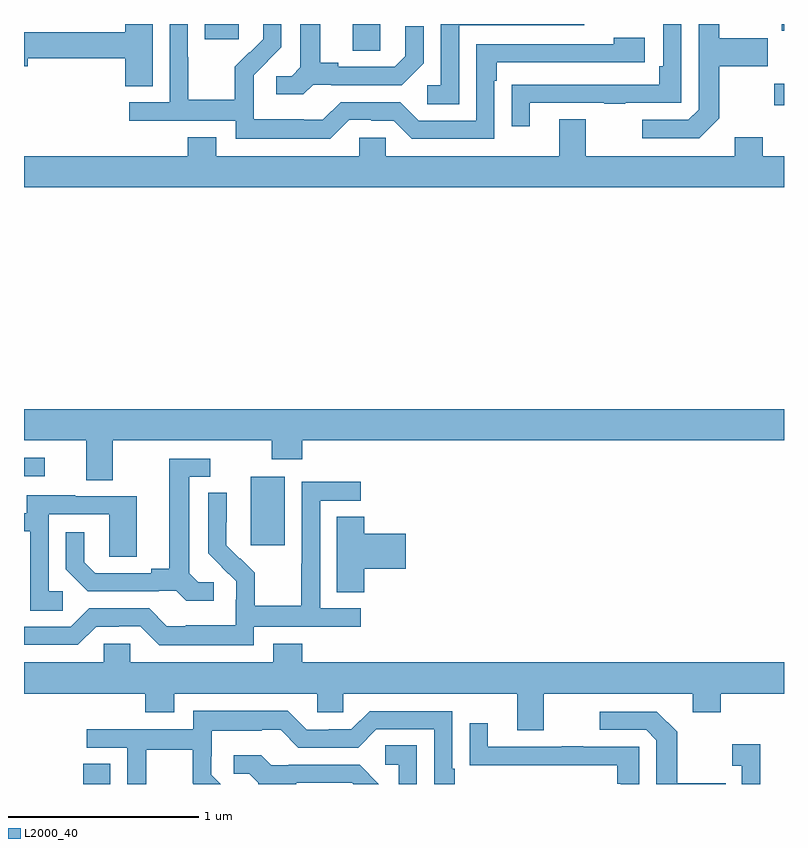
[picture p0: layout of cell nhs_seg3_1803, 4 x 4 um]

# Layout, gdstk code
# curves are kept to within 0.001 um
import gdstk
lib = gdstk.Library(unit=1e-6, precision=1e-09)
def R(c, l, rs):  # rectangles x0, y0, x1, y1
    for r in rs: c.add(gdstk.rectangle(r[:2], r[2:], *l))
def P(c, l, *ps):  # polygons
    for p in ps: c.add(gdstk.Polygon(p, *l))
L2000_40 = (2000, 40)

nhs_seg3_1803 = lib.new_cell('nhs_seg3_1803')
R(nhs_seg3_1803, L2000_40, [(203.312,740.4,203.455,740.507), (204.194,741.657,204.373,742.018), (203,742.02,203.11,742.116), (206.949,743.973,207,744.086), (204.731,744.259,204.876,744.4), (203.951,744.321,204.13,744.4), (206.988,744.365,207,744.4)])
P(nhs_seg3_1803, L2000_40, [(205.663,743.985),(206.053,743.985),(206.053,743.98),(206.165,743.98),(206.165,743.985),(206.46,743.985),(206.46,744.4),(206.364,744.4),(206.364,744.178),(206.344,744.178),(206.344,744.081),(205.669,744.081),(205.669,744.08),(205.567,744.08),(205.567,743.862),(205.663,743.862)],
  [(203.677,744.4),(203.534,744.4),(203.534,744.356),(203,744.356),(203,744.178),(203.02,744.178),(203.02,744.22),(203.534,744.22),(203.534,744.073),(203.677,744.073)],
  [(204.711,743.895),(204.827,743.895),(204.827,743.892),(204.945,743.892),(205.041,743.796),(205.476,743.796),(205.476,744.101),(205.489,744.101),(205.489,744.198),(206.266,744.198),(206.266,744.328),(206.105,744.328),(206.105,744.294),(205.38,744.294),(205.38,743.892),(205.077,743.892),(204.981,743.988),(204.666,743.988),(204.573,743.895),(204.473,743.895),(204.473,743.899),(204.21,743.899),(204.21,744.033),(204.208,744.033),(204.208,744.13),(204.354,744.278),(204.354,744.4),(204.26,744.4),(204.26,744.32),(204.189,744.249),(204.186,744.252),(204.109,744.175),(204.109,744.001),(203.865,744.001),(203.865,744.224),(203.862,744.224),(203.862,744.4),(203.766,744.4),(203.766,743.988),(203.553,743.988),(203.553,743.892),(204.114,743.892),(204.114,743.795),(204.611,743.795)],
  [(204.522,744.081),(204.616,744.081),(204.616,744.078),(204.988,744.078),(205.104,744.194),(205.104,744.388),(205.007,744.388),(205.007,744.231),(204.95,744.174),(204.655,744.174),(204.655,744.197),(204.559,744.197),(204.559,744.4),(204.455,744.4),(204.455,744.173),(204.408,744.126),(204.327,744.126),(204.327,744.029),(204.47,744.029)],
  [(206.659,743.905),(206.659,744.178),(206.915,744.178),(206.915,744.325),(206.659,744.325),(206.659,744.4),(206.55,744.4),(206.55,743.949),(206.496,743.895),(206.253,743.895),(206.253,743.799),(206.553,743.799)],
  [(205.29,744.393),(205.949,744.393),(205.949,744.4),(205.194,744.4),(205.194,744.078),(205.122,744.078),(205.122,743.977),(205.29,743.977)],
  [(207,743.704),(206.889,743.704),(206.889,743.803),(206.741,743.803),(206.741,743.704),(205.957,743.704),(205.957,743.899),(205.817,743.899),(205.817,743.704),(204.903,743.704),(204.903,743.802),(204.765,743.802),(204.765,743.704),(204.013,743.704),(204.013,743.803),(203.861,743.803),(203.861,743.704),(203,743.704),(203,743.54),(207,743.54)],
  [(203,742.208),(203.327,742.208),(203.327,742),(203.467,742),(203.467,742.208),(204.304,742.208),(204.304,742.109),(204.464,742.109),(204.464,742.208),(207,742.208),(207,742.372),(203,742.372)],
  [(203.998,741.462),(203.916,741.462),(203.869,741.509),(203.869,742.017),(203.98,742.017),(203.98,742.113),(203.765,742.113),(203.765,741.533),(203.669,741.533),(203.669,741.51),(203.374,741.51),(203.317,741.567),(203.317,741.724),(203.22,741.724),(203.22,741.53),(203.336,741.414),(203.708,741.414),(203.708,741.417),(203.802,741.417),(203.854,741.365),(203.998,741.365)],
  [(204.21,741.228),(204.772,741.228),(204.772,741.324),(204.558,741.324),(204.558,741.891),(204.772,741.891),(204.772,741.99),(204.462,741.99),(204.462,741.56),(204.46,741.56),(204.46,741.337),(204.215,741.337),(204.215,741.511),(204.138,741.588),(204.135,741.585),(204.065,741.656),(204.066,741.932),(203.97,741.932),(203.97,741.614),(204.116,741.466),(204.116,741.369),(204.114,741.369),(204.114,741.235),(203.851,741.235),(203.851,741.231),(203.751,741.231),(203.658,741.324),(203.343,741.324),(203.247,741.228),(203,741.228),(203,741.132),(203.283,741.132),(203.379,741.228),(203.498,741.228),(203.498,741.231),(203.613,741.231),(203.713,741.131),(204.21,741.131)],
  [(203.203,741.414),(203.13,741.414),(203.13,741.819),(203.448,741.819),(203.448,741.595),(203.593,741.595),(203.593,741.915),(203.269,741.915),(203.269,741.919),(203.015,741.919),(203.015,741.825),(203,741.825),(203,741.729),(203.034,741.729),(203.034,741.313),(203.203,741.313)],
  [(204.791,741.533),(205.009,741.533),(205.009,741.716),(204.791,741.716),(204.791,741.806),(204.647,741.806),(204.647,741.409),(204.791,741.409)],
  [(203.421,741.138),(203.421,741.04),(203,741.04),(203,740.876),(203.639,740.876),(203.639,740.777),(203.791,740.777),(203.791,740.876),(204.543,740.876),(204.543,740.778),(204.681,740.778),(204.681,740.876),(205.595,740.876),(205.595,740.682),(205.735,740.682),(205.735,740.876),(206.519,740.876),(206.519,740.777),(206.667,740.777),(206.667,740.876),(207,740.876),(207,741.04),(204.464,741.04),(204.464,741.139),(204.311,741.139),(204.311,741.04),(203.559,741.04),(203.559,741.138)],
  [(203.643,740.58),(203.887,740.58),(203.887,740.405),(203.892,740.4),(204.036,740.4),(203.986,740.45),(203.986,740.547),(203.988,740.547),(203.988,740.681),(204.251,740.681),(204.251,740.685),(204.351,740.685),(204.444,740.592),(204.759,740.592),(204.855,740.688),(205.158,740.688),(205.158,740.4),(205.267,740.4),(205.267,740.479),(205.254,740.479),(205.254,740.784),(204.819,740.784),(204.723,740.688),(204.605,740.688),(204.605,740.685),(204.489,740.685),(204.389,740.785),(203.892,740.785),(203.892,740.688),(203.331,740.688),(203.331,740.592),(203.544,740.592),(203.544,740.4),(203.643,740.4)],
  [(206.693,740.403),(206.437,740.403),(206.437,740.675),(206.331,740.781),(206.031,740.781),(206.031,740.685),(206.274,740.685),(206.328,740.631),(206.328,740.4),(206.693,740.4)],
  [(206.238,740.595),(205.943,740.595),(205.943,740.6),(205.831,740.6),(205.831,740.595),(205.441,740.595),(205.441,740.719),(205.345,740.719),(205.345,740.5),(205.447,740.5),(205.447,740.499),(206.122,740.499),(206.122,740.402),(206.142,740.402),(206.142,740.4),(206.238,740.4)],
  [(206.875,740.608),(206.727,740.608),(206.727,740.495),(206.778,740.495),(206.778,740.4),(206.875,740.4)],
  [(205.068,740.603),(204.9,740.603),(204.9,740.502),(204.972,740.502),(204.972,740.4),(205.068,740.4)],
  [(204.433,740.406),(204.728,740.406),(204.734,740.4),(204.868,740.4),(204.766,740.502),(204.394,740.502),(204.394,740.499),(204.3,740.499),(204.248,740.551),(204.105,740.551),(204.105,740.454),(204.186,740.454),(204.233,740.407),(204.233,740.4),(204.433,740.4)])

lib.write_gds('nhs_seg3_1803.gds')
